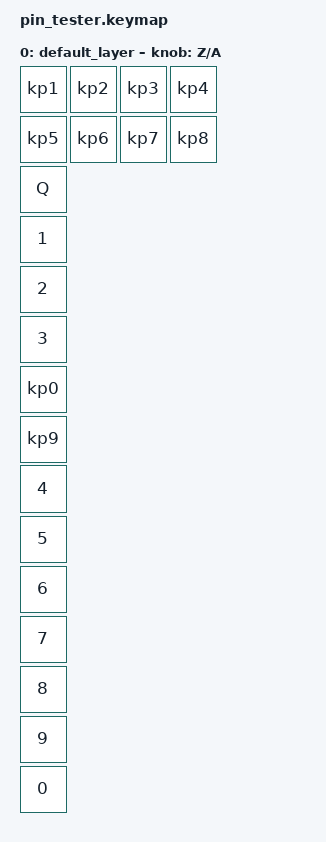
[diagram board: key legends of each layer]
#include <behaviors.dtsi>
#include <dt-bindings/zmk/keys.h>
#include <dt-bindings/zmk/bt.h>

/ {
    combos {
        compatible = "zmk,combos";
        
        combo_bt_clear {
            timeout-ms = <50>;
            key-positions = <0 7>;  // Posiciones 0 (Numpad1) y 7 (Numpad8)
            bindings = <&bt BT_CLR>;
        };
    };

    keymap {
        compatible = "zmk,keymap";

        default_layer {
            bindings = <
                // Matriz 2x4 (8 botones) - Numpad
                &kp KP_N1  &kp KP_N2  &kp KP_N3  &kp KP_N4
                &kp KP_N5  &kp KP_N6  &kp KP_N7  &kp KP_N8
                
                // GPIO Directo (13 pines)
                &kp Q            // P1.00 - Switch del encoder
                &kp N1           // P0.02
                &kp N2           // P0.09
                &kp N3           // P0.10
                &kp KP_N0        // P0.29 - LEVA 1 (Shift Down)
                &kp KP_N9        // P0.31 - LEVA 2 (Shift Up)
                &kp N4           // P1.01
                &kp N5           // P1.02
                &kp N6           // P1.06
                &kp N7           // P1.07
                &kp N8           // P1.08
                &kp N9           // P1.13
                &kp N0           // P1.15
            >;
            
            // Encoder: giro derecha = Z, giro izquierda = A
            sensor-bindings = <&inc_dec_kp Z A>;
        };
    };
};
